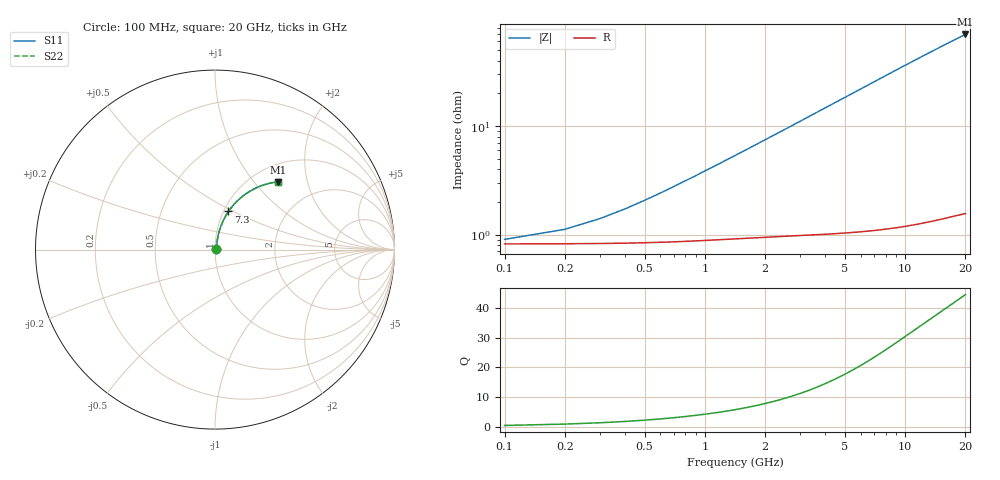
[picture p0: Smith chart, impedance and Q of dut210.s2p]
! Touchstone file exported from HFSS 2026.1.0
!  File:  C:/ffzhzh/LocalFiles/Ansys_Project_Files/temp_train_BSMRDL_210_1782987876_40604.aedt
!  Generated:  06:25:53 PM Jul  2, 2026
!  Design:  BSMRDL
!  Project:  temp_train_BSMRDL_210_1782987876_40604
! Variables:
!  h_bsmrdl = 2.05um
!  h_ox = 20um
!  h_rdl = 5um
!  h_sub = 80um
!  h_tmrdl = 5um
!  h_tsv = 80um
!  h_via = 3um
!  l_bsmrdl = 476.96um
!  l_sub = 876.96um
!  l_tmrdl = 200um
!  m_sub = 200um
!  pitch = 52.32um
!  r_tsv = 6um
!  s_tmrdl = 10um
!  w_bsmrdl = 10.18um
!  w_sub = 500um
!  w_tmrdl = 12um
!  x_tsv_center1 = 206um
!  x_tsv_center2 = 693.14um
!  x_tsv_center3 = 905.14um
!  x_tsv_center4 = 1392.28um
!  x_tsv_center5 = 1604.28um
!  x_tsv_center6 = 2091.42um
# GHz S MA R 50.000000
! Terminal data exported
! Port[1] = BSM_RDL1_1_T1
! Port[2] = BSM_RDL1_1_T2
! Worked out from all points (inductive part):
!   200 points, 100 MHz to 20 GHz, reference 50 ohm
!   read as one part in series: L = 596 pH near 700 MHz
!   highest Q = 44.5 at 20 GHz (marker M1), where L = 554 pH
!   S11 on the Smith chart (normalised r, x): 100 MHz: 1.02, +0.01; 7.3 GHz: 1.05, +0.47; 20 GHz: 1.30, +1.34
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0.1  0.008793 21.9  0.9919 -0.2  0.9919 -0.2  0.008793 21.9
! Gamma 0 0 0 0
! Port Impedance 50 0 50 0
0.2  0.01053 38.6  0.9918 -0.5  0.9918 -0.5  0.01053 38.6
0.4  0.01561 57.0  0.9916 -1.0  0.9916 -1.0  0.01561 57.0
0.5  0.01851 62.0  0.9915 -1.2  0.9915 -1.2  0.01851 62.0
0.7  0.02455 68.1  0.9912 -1.7  0.9912 -1.7  0.02455 68.1
0.8  0.02764 70.0  0.9911 -1.9  0.9911 -1.9  0.02764 70.0
1  0.03385 72.6  0.9907 -2.4  0.9907 -2.4  0.03385 72.6
1.3  0.04322 74.9  0.9901 -3.1  0.9901 -3.1  0.04322 74.9
1.7  0.05572 76.5  0.9893 -4.0  0.9893 -4.0  0.05572 76.5
2.2  0.07133 77.2  0.9881 -5.2  0.9881 -5.2  0.07133 77.2
2.8  0.09001 77.3  0.9864 -6.6  0.9864 -6.6  0.09002 77.3
3.5  0.1117 76.8  0.984 -8.2  0.984 -8.2  0.1117 76.8
4.2  0.1332 75.9  0.9812 -9.8  0.9812 -9.8  0.1332 75.9
5  0.1576 74.7  0.9774 -11.6  0.9774 -11.6  0.1576 74.7
5.9  0.1845 73.2  0.9726 -13.6  0.9726 -13.6  0.1845 73.2
6.8  0.211 71.5  0.967 -15.6  0.967 -15.6  0.211 71.5
7.3  0.2254 70.5  0.9637 -16.8  0.9637 -16.8  0.2254 70.5
8.6  0.262 68.0  0.9542 -19.6  0.9542 -19.6  0.262 68.0
10.1  0.3025 65.1  0.9419 -22.8  0.9419 -22.8  0.3025 65.1
13.4  0.384 58.7  0.9113 -29.5  0.9113 -29.5  0.384 58.7
16.7  0.4549 52.7  0.8778 -35.7  0.8778 -35.7  0.4549 52.7
20  0.5153 47.1  0.8437 -41.5  0.8437 -41.5  0.5153 47.1
